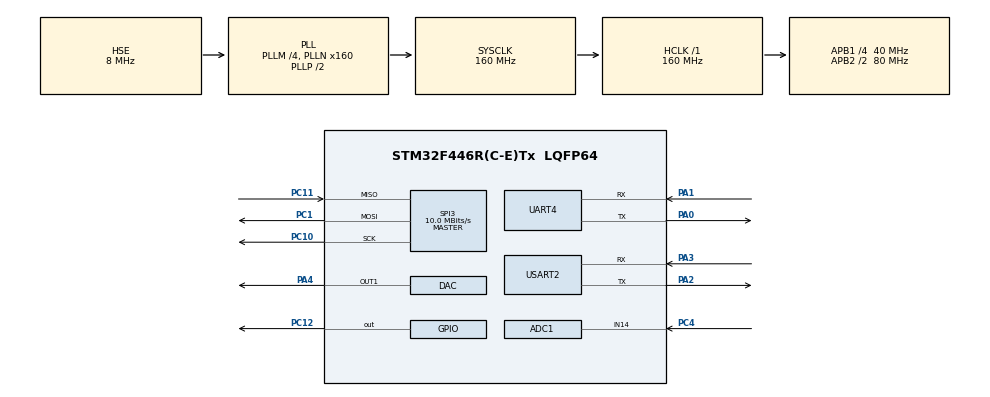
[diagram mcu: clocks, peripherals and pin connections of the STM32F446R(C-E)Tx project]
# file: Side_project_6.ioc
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ADC1.Channel-0\#ChannelRegularConversion=ADC_CHANNEL_14
ADC1.DMAContinuousRequests=ENABLE
ADC1.NbrOfConversionFlag=1
ADC1.Rank-0\#ChannelRegularConversion=1
ADC1.SamplingTime-0\#ChannelRegularConversion=ADC_SAMPLETIME_3CYCLES
ADC1.master=1
DAC.DAC_Trigger=DAC_TRIGGER_T2_TRGO
Dma.ADC1.4.Direction=DMA_PERIPH_TO_MEMORY
Dma.ADC1.4.FIFOMode=DMA_FIFOMODE_DISABLE
Dma.ADC1.4.Instance=DMA2_Stream0
Dma.ADC1.4.MemDataAlignment=DMA_MDATAALIGN_HALFWORD
Dma.ADC1.4.MemInc=DMA_MINC_ENABLE
Dma.ADC1.4.Mode=DMA_CIRCULAR
Dma.ADC1.4.PeriphDataAlignment=DMA_PDATAALIGN_HALFWORD
Dma.ADC1.4.PeriphInc=DMA_PINC_DISABLE
Dma.ADC1.4.Priority=DMA_PRIORITY_LOW
Dma.DAC1.3.Direction=DMA_MEMORY_TO_PERIPH
Dma.DAC1.3.FIFOMode=DMA_FIFOMODE_DISABLE
Dma.DAC1.3.Instance=DMA1_Stream5
Dma.DAC1.3.MemDataAlignment=DMA_MDATAALIGN_WORD
Dma.DAC1.3.MemInc=DMA_MINC_ENABLE
Dma.DAC1.3.Mode=DMA_CIRCULAR
Dma.DAC1.3.PeriphDataAlignment=DMA_PDATAALIGN_WORD
Dma.DAC1.3.PeriphInc=DMA_PINC_DISABLE
Dma.DAC1.3.Priority=DMA_PRIORITY_LOW
Dma.Request0=USART2_TX
Dma.Request1=UART4_TX
Dma.Request2=UART4_RX
Dma.Request3=DAC1
Dma.Request4=ADC1
Dma.UART4_RX.2.Direction=DMA_PERIPH_TO_MEMORY
Dma.UART4_RX.2.FIFOMode=DMA_FIFOMODE_DISABLE
Dma.UART4_RX.2.Instance=DMA1_Stream2
Dma.UART4_RX.2.MemDataAlignment=DMA_MDATAALIGN_BYTE
Dma.UART4_RX.2.MemInc=DMA_MINC_ENABLE
Dma.UART4_RX.2.Mode=DMA_NORMAL
Dma.UART4_RX.2.PeriphDataAlignment=DMA_PDATAALIGN_BYTE
Dma.UART4_RX.2.PeriphInc=DMA_PINC_DISABLE
Dma.UART4_RX.2.Priority=DMA_PRIORITY_LOW
Dma.UART4_TX.1.Direction=DMA_MEMORY_TO_PERIPH
Dma.UART4_TX.1.FIFOMode=DMA_FIFOMODE_DISABLE
Dma.UART4_TX.1.Instance=DMA1_Stream4
Dma.UART4_TX.1.MemDataAlignment=DMA_MDATAALIGN_BYTE
Dma.UART4_TX.1.MemInc=DMA_MINC_ENABLE
Dma.UART4_TX.1.Mode=DMA_NORMAL
Dma.UART4_TX.1.PeriphDataAlignment=DMA_PDATAALIGN_BYTE
Dma.UART4_TX.1.PeriphInc=DMA_PINC_DISABLE
Dma.UART4_TX.1.Priority=DMA_PRIORITY_LOW
Dma.USART2_TX.0.Direction=DMA_MEMORY_TO_PERIPH
Dma.USART2_TX.0.FIFOMode=DMA_FIFOMODE_DISABLE
Dma.USART2_TX.0.Instance=DMA1_Stream6
Dma.USART2_TX.0.MemDataAlignment=DMA_MDATAALIGN_BYTE
Dma.USART2_TX.0.MemInc=DMA_MINC_ENABLE
Dma.USART2_TX.0.Mode=DMA_NORMAL
Dma.USART2_TX.0.PeriphDataAlignment=DMA_PDATAALIGN_BYTE
Dma.USART2_TX.0.PeriphInc=DMA_PINC_DISABLE
Dma.USART2_TX.0.Priority=DMA_PRIORITY_LOW
FREERTOS.Tasks01=defaultTask,0,128,StartDefaultTask,Default,NULL,Dynamic,NULL,NULL
FREERTOS.configTIMER_TASK_PRIORITY=6
FREERTOS.configUSE_TIMERS=1
Mcu.Family=STM32F4
Mcu.Name=STM32F446R(C-E)Tx
Mcu.Package=LQFP64
NVIC.DMA1_Stream2_IRQn=true\:5\:0\:false\:false\:true\:true\:false\:true\:true
NVIC.DMA1_Stream4_IRQn=true\:5\:0\:false\:false\:true\:true\:false\:true\:true
NVIC.DMA1_Stream5_IRQn=true\:5\:0\:false\:false\:true\:true\:false\:true\:true
NVIC.DMA1_Stream6_IRQn=true\:5\:0\:false\:false\:true\:true\:false\:true\:true
NVIC.DMA2_Stream0_IRQn=true\:5\:0\:false\:false\:true\:true\:false\:true\:true
NVIC.PriorityGroup=NVIC_PRIORITYGROUP_4
NVIC.TIM1_UP_TIM10_IRQn=true\:15\:0\:false\:false\:true\:false\:false\:true\:true
NVIC.TIM2_IRQn=true\:5\:0\:false\:false\:true\:true\:true\:true\:true
NVIC.TIM3_IRQn=true\:5\:0\:false\:false\:true\:true\:true\:true\:true
NVIC.TimeBase=TIM1_UP_TIM10_IRQn
NVIC.TimeBaseIP=TIM1
NVIC.UART4_IRQn=true\:5\:0\:false\:false\:true\:true\:true\:true\:true
NVIC.USART2_IRQn=true\:5\:0\:false\:false\:true\:true\:true\:true\:true
PA0-WKUP.Mode=Asynchronous
PA0-WKUP.Signal=UART4_TX
PA1.Mode=Asynchronous
PA1.Signal=UART4_RX
PA2.Mode=Asynchronous
PA2.Signal=USART2_TX
PA3.Mode=Asynchronous
PA3.Signal=USART2_RX
PA4.Signal=COMP_DAC1_group
PC1.Mode=Full_Duplex_Master
PC1.Signal=SPI3_MOSI
PC10.Mode=Full_Duplex_Master
PC10.Signal=SPI3_SCK
PC11.Mode=Full_Duplex_Master
PC11.Signal=SPI3_MISO
PC12.Signal=GPIO_Output
PC4.Signal=ADCx_IN14
PH0-OSC_IN.Mode=HSE-External-Oscillator
PH0-OSC_IN.Signal=RCC_OSC_IN
PH1-OSC_OUT.Mode=HSE-External-Oscillator
PH1-OSC_OUT.Signal=RCC_OSC_OUT
ProjectManager.HeapSize=0x200
ProjectManager.StackSize=0x400
ProjectManager.TargetToolchain=STM32CubeIDE
RCC.AHBFreq_Value=160000000
RCC.APB1CLKDivider=RCC_HCLK_DIV4
RCC.APB1Freq_Value=40000000
RCC.APB1TimFreq_Value=80000000
RCC.APB2CLKDivider=RCC_HCLK_DIV2
RCC.APB2Freq_Value=80000000
RCC.APB2TimFreq_Value=160000000
RCC.CortexFreq_Value=160000000
RCC.HCLKFreq_Value=160000000
RCC.HSE_VALUE=8000000
RCC.PLLM=4
RCC.PLLN=160
RCC.PLLSourceVirtual=RCC_PLLSOURCE_HSE
RCC.SYSCLKFreq_VALUE=160000000
RCC.SYSCLKSource=RCC_SYSCLKSOURCE_PLLCLK
RCC.USBFreq_Value=160000000
RCC.VCOOutputFreq_Value=320000000
SH.ADCx_IN14.0=ADC1_IN14,IN14
SH.COMP_DAC1_group.0=DAC_OUT1,DAC_OUT1
SPI3.BaudRatePrescaler=SPI_BAUDRATEPRESCALER_4
SPI3.CalculateBaudRate=10.0 MBits/s
SPI3.Direction=SPI_DIRECTION_2LINES
SPI3.Mode=SPI_MODE_MASTER
SPI3.VirtualType=VM_MASTER
TIM2.Period=1000-1
TIM2.Prescaler=80-1
TIM2.TIM_MasterOutputTrigger=TIM_TRGO_UPDATE
TIM3.Period=100-1
TIM3.Prescaler=80-1
UART4.VirtualMode=Asynchronous
USART2.VirtualMode=VM_ASYNC
VP_FATFS_VS_Generic.Mode=User_defined
VP_FREERTOS_VS_CMSIS_V1.Mode=CMSIS_V1
VP_SYS_VS_tim1.Mode=TIM1
VP_TIM2_VS_ClockSourceINT.Mode=Internal
VP_TIM3_VS_ClockSourceINT.Mode=Internal
board=custom

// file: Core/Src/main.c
/* USER CODE BEGIN Header */
/**
  ******************************************************************************
  * @file           : main.c
  * @brief          : Main program body
  ******************************************************************************
  * @attention
  *
  * Copyright (c) 2022 STMicroelectronics.
  * All rights reserved.
  *
  * This software is licensed under terms that can be found in the LICENSE file
  * in the root directory of this software component.
  * If no LICENSE file comes with this software, it is provided AS-IS.
  *
  ******************************************************************************
  */
/* USER CODE END Header */
#include "main.h"
#include "fatfs.h"

/* USER CODE BEGIN Includes */
#include "FreeRTOS.h"
#include "task.h"
#include "timers.h"
#include "queue.h"
#include "semphr.h"
#include "event_groups.h"

#include "stdio.h"
#include "math.h"
#include "arm_math.h"
#include "stm32_dsp.h"
#include "File_Handling_RTOS.h"
/* USER CODE END Includes */

/* USER CODE BEGIN PTD */
SemaphoreHandle_t SimMutex;
SemaphoreHandle_t Bin_sem;

TaskHandle_t Scope1_handler;
TaskHandle_t Scope2_handler;
TaskHandle_t Data_handler;
TaskHandle_t FFT_handler;
TaskHandle_t SD_handler;

QueueHandle_t SD_queue;
QueueHandle_t FFT_queue;
QueueHandle_t FFT_input_queue;

TimerHandle_t Timer_handler;
/* USER CODE END PTD */

/* USER CODE BEGIN PD */
#define PI 3.141592
/* USER CODE END PD */

 ADC_HandleTypeDef hadc1;
DMA_HandleTypeDef hdma_adc1;

DAC_HandleTypeDef hdac;
DMA_HandleTypeDef hdma_dac1;

SPI_HandleTypeDef hspi3;

TIM_HandleTypeDef htim2;
TIM_HandleTypeDef htim3;

UART_HandleTypeDef huart4;
UART_HandleTypeDef huart2;
DMA_HandleTypeDef hdma_uart4_tx;
DMA_HandleTypeDef hdma_uart4_rx;
DMA_HandleTypeDef hdma_usart2_tx;

void SystemClock_Config(void);
static void MX_GPIO_Init(void);
static void MX_DMA_Init(void);
static void MX_USART2_UART_Init(void);
static void MX_UART4_Init(void);
static void MX_DAC_Init(void);
static void MX_ADC1_Init(void);
static void MX_TIM2_Init(void);
static void MX_TIM3_Init(void);
static void MX_SPI3_Init(void);

/* USER CODE BEGIN 0 */
//button_state//
int stop_button=0;
int FFT_button=0;
int SD_flag=0;

int SD_ADC_falg=0;
int SD_FFT_falg=0;
//time scale//
int time_scale_tune=128;//for tuning
int time_scale=128;//time scale(when IT frequency=10kHz)
int freq_scale_fft=1;//FFT scale
//magnitude scale//
uint8_t mag_scale_tune=1;//for tuning
uint8_t mag_scale=1;//mag scale
int amplify=1;
//scope bias//
uint8_t scope_bias_tune=0;//for tuning
uint8_t scope_bias=0;//tuning bias

uint8_t rx_buf[5];

//Uart_transmit and Critical section setup//
uint8_t cmd_end[3]={0xff,0xff,0xff};
uint8_t mutex_flag=0;
char buf[20];//for wave transfer
char buf_2[25];//for txt transfer
char buf_3[20];//for FFT transfer
char buf_4[25];//for txt transfer
void Scope1_task(void *argument);
void Scope2_task(void *argument);
void Data_task(void *argument);
void FFT_task(void *argument);
void SD_task(void *argument);

void Critical_section_Uart(int len,char *str)
{
	xSemaphoreTake(SimMutex,portMAX_DELAY);
	HAL_UART_Transmit_DMA(&huart4, (uint8_t *)str,len);
	HAL_Delay(1);
	xSemaphoreGive(SimMutex);
}

void HAL_UART_TxCpltCallback(UART_HandleTypeDef *huart)
{
}

void HAL_UART_RxCpltCallback(UART_HandleTypeDef *huart)
{
	if(huart->Instance==UART4)
	{
		if(rx_buf[1]==0x31)
		{
			if(rx_buf[2]==0x02)
			{
				if(rx_buf[3]==0x01)stop_button=1;
				else stop_button=0;
			}
			else if(rx_buf[2]==0x05)
			{
				time_scale_tune=time_scale*2;
				if(time_scale_tune<128)time_scale=time_scale_tune;
				else time_scale=128;
			}
			else if(rx_buf[2]==0x06)
			{
				time_scale_tune=time_scale/2;
				if(time_scale_tune>1)time_scale=time_scale_tune;
				else time_scale=1;
			}
			else if(rx_buf[2]==0x0A)
			{
				if(rx_buf[3]==0x01)FFT_button=1;
				else FFT_button=0;
			}
			else if(rx_buf[2]==0x0B)
			{
				if(rx_buf[3]==0x01)amplify=10;
				else amplify=1;
			}
			else if(rx_buf[2]==0x08)
			{
				SD_flag=1;//let sd_falg=1,when write is done,reset flag=0;
				SD_ADC_falg=1;//Store ADC data to SD card
			}
			else if(rx_buf[2]==0x0C)
			{
				SD_flag=1;//let sd_falg=1,when write is done,reset flag=0;
				SD_FFT_falg=1;//Store FFT data to SD card
			}
			else
			{

			}

		}

		else
		{
			if(rx_buf[2]==0x02)
			{
				if(rx_buf[3]==0x01)stop_button=1;
				else stop_button=0;
			}
			else if(rx_buf[2]==0x05)
			{
				time_scale_tune=time_scale*2;
				if(time_scale_tune<128)time_scale=time_scale_tune;
				else time_scale=128;
			}
			else if(rx_buf[2]==0x06)
			{
				time_scale_tune=time_scale/2;
				if(time_scale_tune>1)time_scale=time_scale_tune;
				else time_scale=1;
			}
			else if(rx_buf[2]==0x07)
			{
				mag_scale_tune=mag_scale*2;
				if(mag_scale_tune<32)mag_scale=mag_scale_tune;
				else mag_scale=32;
			}
			else if(rx_buf[2]==0x08)
			{
				mag_scale_tune=mag_scale/2;
				if(mag_scale_tune>1)mag_scale=mag_scale_tune;
				else mag_scale=1;
			}
			else if(rx_buf[2]==0x09)
			{
				scope_bias_tune=scope_bias_tune+5;
				if(scope_bias_tune<255)scope_bias=scope_bias_tune;
				else scope_bias=255;
			}
			else if(rx_buf[2]==0x0A)
			{
				scope_bias_tune=scope_bias_tune-5;
				if(scope_bias_tune>0)scope_bias=scope_bias_tune;
				else scope_bias=0;
			}
			else
			{

			}
		}
	}
}

//-----------------------------------------------------//
//------------------adc_measurement--------------------//
//-----------------------------------------------------//
uint32_t adc_val;
uint8_t adc_data_buf[1000];
uint16_t adc_dma[1];
int sample_counter=0;//decide sample rate
int store_counter=0;//decide store array index
int uart_trans_counter=0;//decide uart transfer index;
//frequency calculation//
int cros_time=0;//cros_zero time
uint8_t frequency=0;//wave freq
uint8_t frequency_mod=0;//wave freq
//magnitude calculation//
uint8_t mag_max=0;//wave magnitude
int mag_max_int=0;
int mag_max_mod=0;
int flush_counter=0;//use for flush magnitude data

//---------------------------------------------------//
//-------------sin waveform generate-----------------//
//---------------------------------------------------//
uint32_t sin_val[100];//for saving sin waveform sample data

void get_sinval ()
{
	for(int i=0;i<100;i++)
	{
		sin_val[i]=(sin(i*2*PI*1/100)*(4096/2)+2048);
	}
}

//-------------------------------------------------//
//------------------FFT setup----------------------//
//-------------------------------------------------//
#define FFT_length 64
int fft_counter=0;
int fft_transfer_counter=31;
int fft_hold_counter=0;
int fft_complete_flag=0;
int value_fft=0;
int fft_sample_counter=0;
uint32_t input[FFT_length], output[FFT_length],Mag[FFT_length];/* 输入，输出 */
float32_t Phase[FFT_length];/* 相位，幅值*/

/*
*********************************************************************************************************
* 函 数 名: PowerMag
* 功能说明: 求模值
* 形 参：_usFFTPoints FFT点数
* 返 回 值: 无
*********************************************************************************************************
*/
void PowerMag(uint16_t _usFFTPoints)
{
	int16_t lX,lY;
	uint16_t i;
	float32_t mag;
	/* 计算幅值 */
	for (i=0; i < _usFFTPoints; i++)
	{
	lX= (output[i]<<16)>>16; /* 实部*/
	lY= (output[i]>> 16); /* 虚部 */
	arm_sqrt_f32((float32_t)(lX*lX+ lY*lY), &mag); /* 求模 */
	Mag[i]= mag*2; /* 求模后乘以2才是实际模值，直流分量不需要乘2 */
	}

	/* 由于上面多乘了2，所以这里直流分量要除以2 */
	Mag[0] = Mag[0]>>1;
}

/*
*********************************************************************************************************
* 函 数 名: Power_Phase_Radians
* 功能说明: 求相位
* 形 参：_usFFTPoints FFT点数， uiCmpValue 阀值
* 返 回 值: 无
*********************************************************************************************************
*/
void Power_Phase_Radians(uint16_t _usFFTPoints, uint32_t _uiCmpValue)
{
	int16_t lX, lY;
	uint16_t i;
	float32_t phase;
	float32_t mag;
	for (i=0; i <_usFFTPoints; i++)
	{
		lX= (output[i]<<16)>>16; /* 实部 */
		lY= (output[i] >> 16); /* 虚部 */
		phase = atan2(lY, lX); /* atan2求解的结果范围是(-pi, pi], 弧度制 */
		arm_sqrt_f32((float32_t)(lX*lX+ lY*lY), &mag); /* 求模 */
		if(_uiCmpValue > mag)
		{
			Phase[i] = 0;
		}
		else
		{
			Phase[i] = phase* 180.0f/PI; /* 将求解的结果由弧度转换为角度 */
		}
	}
}
/*
*********************************************************************************************************
* 函 数 名: DSP_FFTPhase
* 功能说明: 64点FFT的相位求解
* 形 参：无
* 返 回 值: 无
*********************************************************************************************************
*/
void DSP_FFTPhase(void)
{

	/* 计算64点FFT
	 output：输出结果，高16位是虚部，低16位是实部。
	 input ：输入数据，高16位是虚部，低16位是实部。
	 第三个参数必须是64。
	*/
	cr4_fft_64_stm32(output, input, 64);
	/* 求幅值 */
	PowerMag(FFT_length);

	Power_Phase_Radians(FFT_length, 100);
}

//----------------SD_card setup---------------------//
char buf_sd[50];//for SD card sprintf use
int buf_val[64];//for test SD card function
int sd_buf[64];//store adc data,for save to SD card
int sd_store_counter=0;
int write_counter_adc=0;
int write_counter_fft=0;

void buffer_value_set()
{
	for(int i=0;i<64;i++)
	{
		buf_val[i]=i;
	}
}

//------------Software timer callback-------------//

void timer_callback (xTimerHandle xtimer)
{
	uint32_t Tick_delay=pdMS_TO_TICKS(1);
	int FFT_input_val;
	if(xtimer==Timer_handler)
	{
		sample_counter++;
		//sample counter decide sample rate//
		if(sample_counter>=1*time_scale)
		{

			sample_counter=0;
			if(store_counter>=1000)store_counter=0;
			HAL_ADC_Start(&hadc1);
			adc_data_buf[store_counter]=adc_val/16;
			store_counter++;

			//frequency calculation//
			if(adc_val>=2048)cros_time++;
			else if(adc_val<2048&&cros_time!=0)
			{
				frequency=1/(0.0001*time_scale*cros_time*2);
				cros_time=0;
			}

			//magnitude calculation//
			if((adc_val/16)>mag_max)
			{
				mag_max=adc_val/16;//if adc_val >previous value,change max value
				mag_max_int=mag_max*3.3*amplify/255;
				mag_max_mod=(mag_max*33/10*amplify%255)/26;
			}
			else
			{
				flush_counter++;
				if(flush_counter>=(1000/time_scale))//flush data in period
				{
					mag_max=0;//reset_mag
					frequency=0;
					flush_counter=0;
				}
			}
		}

		xQueueSend(SD_queue,&adc_val,Tick_delay);

		//FFT calculation data transfer//
		FFT_input_val=adc_val/4;
		if(fft_counter<=FFT_length)
		{
			if(xQueueSend(FFT_input_queue,&FFT_input_val,Tick_delay)!=pdTRUE)
				xSemaphoreGive(Bin_sem);//Data preparation complete Release Binary semaphore

			fft_counter++;
		}

	}
}

/* USER CODE END 0 */

int main(void)
{

  /* MCU Configuration--------------------------------------------------------*/

  /* Reset of all peripherals, Initializes the Flash interface and the Systick. */
  HAL_Init();

  /* Configure the system clock */
  SystemClock_Config();

  /* Initialize all configured peripherals */
  MX_GPIO_Init();
  MX_DMA_Init();
  MX_USART2_UART_Init();
  MX_UART4_Init();
  MX_DAC_Init();
  MX_ADC1_Init();
  MX_TIM2_Init();
  MX_TIM3_Init();
  MX_SPI3_Init();
  MX_FATFS_Init();
  /* USER CODE BEGIN 2 */

  //SD card setup//
  buffer_value_set();

  Mount_SD("/");
  Format_SD();
  Create_File("ADC.TXT");
  Create_File("FFT.TXT");
  Unmount_SD("/");

  //DAC setup//
  HAL_TIM_Base_Start(&htim2);
  get_sinval();
  HAL_DAC_Start_DMA(&hdac, DAC1_CHANNEL_1, sin_val, 100, DAC_ALIGN_12B_R);
  //ADC_DMA_setup//
  HAL_ADC_Start_DMA(&hadc1,(uint32_t *)adc_dma,1);

  //TIM3 interrupt setup//
  HAL_TIM_Base_Start_IT(&htim3);

  //Start Receive IT//
  HAL_UART_Receive_DMA(&huart4, rx_buf, 5);

  //create semaphore//
  Bin_sem=xSemaphoreCreateBinary();
  //create mutex//
  SimMutex = xSemaphoreCreateMutex();
  if(SimMutex!=NULL)mutex_flag=1;

  //create software timer//
  Timer_handler=xTimerCreate("FFT_timer",pdMS_TO_TICKS(16), pdTRUE,(void *) 1,(TimerCallbackFunction_t)timer_callback);

  //Queue create//
  SD_queue=xQueueCreate(64,sizeof(int));
  FFT_queue=xQueueCreate(32,sizeof(int));
  FFT_input_queue=xQueueCreate(64,sizeof(uint32_t));

  //create task//
  xTaskCreate(Scope1_task,"HPT",128,NULL,4,&Scope1_handler);
  xTaskCreate(Scope2_task,"MPT",128,NULL,4,&Scope2_handler);
  xTaskCreate(Data_task,"LPT",128,NULL,3,&Data_handler);
  xTaskCreate(FFT_task,"VLPT",128,NULL,2,&FFT_handler);
  xTaskCreate(SD_task,"SDT",256,NULL,1,&SD_handler);
  vTaskStartScheduler();

  /* USER CODE END 2 */

  /* Infinite loop */
  while (1)
  {

  }
}

void SystemClock_Config(void)
{
  RCC_OscInitTypeDef RCC_OscInitStruct = {0};
  RCC_ClkInitTypeDef RCC_ClkInitStruct = {0};

  /** Configure the main internal regulator output voltage
  */
  __HAL_RCC_PWR_CLK_ENABLE();
  __HAL_PWR_VOLTAGESCALING_CONFIG(PWR_REGULATOR_VOLTAGE_SCALE1);

  /** Initializes the RCC Oscillators according to the specified parameters
  * in the RCC_OscInitTypeDef structure.
  */
  RCC_OscInitStruct.OscillatorType = RCC_OSCILLATORTYPE_HSE;
  RCC_OscInitStruct.HSEState = RCC_HSE_ON;
  RCC_OscInitStruct.PLL.PLLState = RCC_PLL_ON;
  RCC_OscInitStruct.PLL.PLLSource = RCC_PLLSOURCE_HSE;
  RCC_OscInitStruct.PLL.PLLM = 4;
  RCC_OscInitStruct.PLL.PLLN = 160;
  RCC_OscInitStruct.PLL.PLLP = RCC_PLLP_DIV2;
  RCC_OscInitStruct.PLL.PLLQ = 2;
  RCC_OscInitStruct.PLL.PLLR = 2;
  if (HAL_RCC_OscConfig(&RCC_OscInitStruct) != HAL_OK)
  {
    Error_Handler();
  }

  /** Initializes the CPU, AHB and APB buses clocks
  */
  RCC_ClkInitStruct.ClockType = RCC_CLOCKTYPE_HCLK|RCC_CLOCKTYPE_SYSCLK
                              |RCC_CLOCKTYPE_PCLK1|RCC_CLOCKTYPE_PCLK2;
  RCC_ClkInitStruct.SYSCLKSource = RCC_SYSCLKSOURCE_PLLCLK;
  RCC_ClkInitStruct.AHBCLKDivider = RCC_SYSCLK_DIV1;
  RCC_ClkInitStruct.APB1CLKDivider = RCC_HCLK_DIV4;
  RCC_ClkInitStruct.APB2CLKDivider = RCC_HCLK_DIV2;

  if (HAL_RCC_ClockConfig(&RCC_ClkInitStruct, FLASH_LATENCY_5) != HAL_OK)
  {
    Error_Handler();
  }
}

static void MX_ADC1_Init(void)
{

  ADC_ChannelConfTypeDef sConfig = {0};

  /** Configure the global features of the ADC (Clock, Resolution, Data Alignment and number of conversion)
  */
  hadc1.Instance = ADC1;
  hadc1.Init.ClockPrescaler = ADC_CLOCK_SYNC_PCLK_DIV4;
  hadc1.Init.Resolution = ADC_RESOLUTION_12B;
  hadc1.Init.ScanConvMode = DISABLE;
  hadc1.Init.ContinuousConvMode = DISABLE;
  hadc1.Init.DiscontinuousConvMode = DISABLE;
  hadc1.Init.ExternalTrigConvEdge = ADC_EXTERNALTRIGCONVEDGE_NONE;
  hadc1.Init.ExternalTrigConv = ADC_SOFTWARE_START;
  hadc1.Init.DataAlign = ADC_DATAALIGN_RIGHT;
  hadc1.Init.NbrOfConversion = 1;
  hadc1.Init.DMAContinuousRequests = ENABLE;
  hadc1.Init.EOCSelection = ADC_EOC_SINGLE_CONV;
  if (HAL_ADC_Init(&hadc1) != HAL_OK)
  {
    Error_Handler();
  }

  /** Configure for the selected ADC regular channel its corresponding rank in the sequencer and its sample time.
  */
  sConfig.Channel = ADC_CHANNEL_14;
  sConfig.Rank = 1;
  sConfig.SamplingTime = ADC_SAMPLETIME_3CYCLES;
  if (HAL_ADC_ConfigChannel(&hadc1, &sConfig) != HAL_OK)
  {
    Error_Handler();
  }

}

static void MX_DAC_Init(void)
{

  DAC_ChannelConfTypeDef sConfig = {0};

  /** DAC Initialization
  */
  hdac.Instance = DAC;
  if (HAL_DAC_Init(&hdac) != HAL_OK)
  {
    Error_Handler();
  }

  /** DAC channel OUT1 config
  */
  sConfig.DAC_Trigger = DAC_TRIGGER_T2_TRGO;
  sConfig.DAC_OutputBuffer = DAC_OUTPUTBUFFER_ENABLE;
  if (HAL_DAC_ConfigChannel(&hdac, &sConfig, DAC_CHANNEL_1) != HAL_OK)
  {
    Error_Handler();
  }

}

static void MX_SPI3_Init(void)
{

  /* SPI3 parameter configuration*/
  hspi3.Instance = SPI3;
  hspi3.Init.Mode = SPI_MODE_MASTER;
  hspi3.Init.Direction = SPI_DIRECTION_2LINES;
  hspi3.Init.DataSize = SPI_DATASIZE_8BIT;
  hspi3.Init.CLKPolarity = SPI_POLARITY_LOW;
  hspi3.Init.CLKPhase = SPI_PHASE_1EDGE;
  hspi3.Init.NSS = SPI_NSS_SOFT;
  hspi3.Init.BaudRatePrescaler = SPI_BAUDRATEPRESCALER_4;
  hspi3.Init.FirstBit = SPI_FIRSTBIT_MSB;
  hspi3.Init.TIMode = SPI_TIMODE_DISABLE;
  hspi3.Init.CRCCalculation = SPI_CRCCALCULATION_DISABLE;
  hspi3.Init.CRCPolynomial = 10;
  if (HAL_SPI_Init(&hspi3) != HAL_OK)
  {
    Error_Handler();
  }

}

static void MX_TIM2_Init(void)
{

  TIM_ClockConfigTypeDef sClockSourceConfig = {0};
  TIM_MasterConfigTypeDef sMasterConfig = {0};

  htim2.Instance = TIM2;
  htim2.Init.Prescaler = 80-1;
  htim2.Init.CounterMode = TIM_COUNTERMODE_UP;
  htim2.Init.Period = 1000-1;
  htim2.Init.ClockDivision = TIM_CLOCKDIVISION_DIV1;
  htim2.Init.AutoReloadPreload = TIM_AUTORELOAD_PRELOAD_DISABLE;
  if (HAL_TIM_Base_Init(&htim2) != HAL_OK)
  {
    Error_Handler();
  }
  sClockSourceConfig.ClockSource = TIM_CLOCKSOURCE_INTERNAL;
  if (HAL_TIM_ConfigClockSource(&htim2, &sClockSourceConfig) != HAL_OK)
  {
    Error_Handler();
  }
  sMasterConfig.MasterOutputTrigger = TIM_TRGO_UPDATE;
  sMasterConfig.MasterSlaveMode = TIM_MASTERSLAVEMODE_DISABLE;
  if (HAL_TIMEx_MasterConfigSynchronization(&htim2, &sMasterConfig) != HAL_OK)
  {
    Error_Handler();
  }

}

static void MX_TIM3_Init(void)
{

  TIM_ClockConfigTypeDef sClockSourceConfig = {0};
  TIM_MasterConfigTypeDef sMasterConfig = {0};

  htim3.Instance = TIM3;
  htim3.Init.Prescaler = 80-1;
  htim3.Init.CounterMode = TIM_COUNTERMODE_UP;
  htim3.Init.Period = 100-1;
  htim3.Init.ClockDivision = TIM_CLOCKDIVISION_DIV1;
  htim3.Init.AutoReloadPreload = TIM_AUTORELOAD_PRELOAD_DISABLE;
  if (HAL_TIM_Base_Init(&htim3) != HAL_OK)
  {
    Error_Handler();
  }
  sClockSourceConfig.ClockSource = TIM_CLOCKSOURCE_INTERNAL;
  if (HAL_TIM_ConfigClockSource(&htim3, &sClockSourceConfig) != HAL_OK)
  {
    Error_Handler();
  }
  sMasterConfig.MasterOutputTrigger = TIM_TRGO_RESET;
  sMasterConfig.MasterSlaveMode = TIM_MASTERSLAVEMODE_DISABLE;
  if (HAL_TIMEx_MasterConfigSynchronization(&htim3, &sMasterConfig) != HAL_OK)
  {
    Error_Handler();
  }

}

static void MX_UART4_Init(void)
{

  huart4.Instance = UART4;
  huart4.Init.BaudRate = 115200;
  huart4.Init.WordLength = UART_WORDLENGTH_8B;
  huart4.Init.StopBits = UART_STOPBITS_1;
  huart4.Init.Parity = UART_PARITY_NONE;
  huart4.Init.Mode = UART_MODE_TX_RX;
  huart4.Init.HwFlowCtl = UART_HWCONTROL_NONE;
  huart4.Init.OverSampling = UART_OVERSAMPLING_16;
  if (HAL_UART_Init(&huart4) != HAL_OK)
  {
    Error_Handler();
  }

}

static void MX_USART2_UART_Init(void)
{

  huart2.Instance = USART2;
  huart2.Init.BaudRate = 115200;
  huart2.Init.WordLength = UART_WORDLENGTH_8B;
  huart2.Init.StopBits = UART_STOPBITS_1;
  huart2.Init.Parity = UART_PARITY_NONE;
  huart2.Init.Mode = UART_MODE_TX_RX;
  huart2.Init.HwFlowCtl = UART_HWCONTROL_NONE;
  huart2.Init.OverSampling = UART_OVERSAMPLING_16;
  if (HAL_UART_Init(&huart2) != HAL_OK)
  {
    Error_Handler();
  }

}

static void MX_DMA_Init(void)
{

  /* DMA controller clock enable */
  __HAL_RCC_DMA1_CLK_ENABLE();
  __HAL_RCC_DMA2_CLK_ENABLE();

  /* DMA interrupt init */
  /* DMA1_Stream2_IRQn interrupt configuration */
  HAL_NVIC_SetPriority(DMA1_Stream2_IRQn, 5, 0);
  HAL_NVIC_EnableIRQ(DMA1_Stream2_IRQn);
  /* DMA1_Stream4_IRQn interrupt configuration */
  HAL_NVIC_SetPriority(DMA1_Stream4_IRQn, 5, 0);
  HAL_NVIC_EnableIRQ(DMA1_Stream4_IRQn);
  /* DMA1_Stream5_IRQn interrupt configuration */
  HAL_NVIC_SetPriority(DMA1_Stream5_IRQn, 5, 0);
  HAL_NVIC_EnableIRQ(DMA1_Stream5_IRQn);
  /* DMA1_Stream6_IRQn interrupt configuration */
  HAL_NVIC_SetPriority(DMA1_Stream6_IRQn, 5, 0);
  HAL_NVIC_EnableIRQ(DMA1_Stream6_IRQn);
  /* DMA2_Stream0_IRQn interrupt configuration */
  HAL_NVIC_SetPriority(DMA2_Stream0_IRQn, 5, 0);
  HAL_NVIC_EnableIRQ(DMA2_Stream0_IRQn);

}

static void MX_GPIO_Init(void)
{
  GPIO_InitTypeDef GPIO_InitStruct = {0};

  /* GPIO Ports Clock Enable */
  __HAL_RCC_GPIOH_CLK_ENABLE();
  __HAL_RCC_GPIOC_CLK_ENABLE();
  __HAL_RCC_GPIOA_CLK_ENABLE();

  /*Configure GPIO pin Output Level */
  HAL_GPIO_WritePin(GPIOC, GPIO_PIN_12, GPIO_PIN_RESET);

  /*Configure GPIO pin : PC12 */
  GPIO_InitStruct.Pin = GPIO_PIN_12;
  GPIO_InitStruct.Mode = GPIO_MODE_OUTPUT_PP;
  GPIO_InitStruct.Pull = GPIO_NOPULL;
  GPIO_InitStruct.Speed = GPIO_SPEED_FREQ_LOW;
  HAL_GPIO_Init(GPIOC, &GPIO_InitStruct);

}

/* USER CODE BEGIN 4 */
void Scope1_task(void *argument)
{
	xTimerStart(Timer_handler,0);
	while(1)
	{
		if(uart_trans_counter>=1000)uart_trans_counter=0;

		int value=adc_data_buf[uart_trans_counter]/mag_scale+scope_bias;
		if(value>=255)value=255;

		int len=sprintf(buf,"add 1,0,%d%s",value,cmd_end);
		if(stop_button==0)
		{
		Critical_section_Uart(len,buf);//if stop button=0,send data to display
		uart_trans_counter++;
		}

		vTaskDelay(1*time_scale);
	}
}

void Scope2_task(void *argument)
{
	uint32_t Tick_delay=pdMS_TO_TICKS(1000);
	while(1)
	{
		if(FFT_button==1&&stop_button==0&&fft_complete_flag==0)
		{
			if(fft_transfer_counter<0)
			{
				fft_transfer_counter=31;
				fft_complete_flag=1;//transfer complete set flag to stop transfer data
				vTaskDelay(Tick_delay);
			}

			if(fft_hold_counter!=1)
			{
				value_fft=0;
			}
			else value_fft=Mag[fft_transfer_counter];

			int len=sprintf(buf_3,"add 1,1,%d%s",value_fft,cmd_end);
			Critical_section_Uart(len,buf_3);//if FFT_button=1,send data to display

			if(fft_hold_counter>=10)
			{
				fft_transfer_counter--;
				fft_hold_counter=0;
			}
				fft_hold_counter++;
		}
		vTaskDelay(10);
	}
}

void Data_task(void *argument)
{
	while(1)
	{
		HAL_UART_Receive_DMA(&huart4,rx_buf,5);

		if(stop_button==0)
		{
			int len=sprintf(buf_2,"t0.txt=\"freq=%d Hz\"%s",frequency,cmd_end);
			Critical_section_Uart(len,buf_2);
			len=sprintf(buf_4,"t1.txt=\"Mag=%d.%d V\"%s",mag_max_int,mag_max_mod,cmd_end);
			Critical_section_Uart(len,buf_4);
		}
		vTaskDelay(500);
	}
}

void FFT_task(void *argument)
{
	int value;
	int i;
	uint32_t Tick_delay=pdMS_TO_TICKS(1);
	while(1)
	{
		//Do FFT calculation,only when receive Binary semaphore
		if(xSemaphoreTake(Bin_sem,portMAX_DELAY)!=pdFALSE)
		{
			//Receive FFT calculation input data from Queue//
			for(i=0;i<FFT_length;i++)
			{
				xQueueReceive(FFT_input_queue, &value, Tick_delay);
				input[i]=value;
			}

			//implement calculation//
			DSP_FFTPhase();
			fft_counter=0;//Reset fft counter let timercallback can receive data
			fft_complete_flag=0;//when fft update,reset the fft flag
		}

		vTaskDelay(20);

	}
}

void SD_task(void *argument)
{
	int value;
	int value_FFT;
	uint32_t Tick_delay=pdMS_TO_TICKS(1);
	while(1)
	{
		if(SD_flag==1&&SD_ADC_falg==1)
		{
			xQueueReceive(SD_queue, &value, Tick_delay);
			if(write_counter_adc!=0)
			sprintf(buf_sd,"%d.%d\n",(write_counter_adc+1),value);
			else
			sprintf(buf_sd,"ADC_value\n%d.%d\n",(write_counter_adc+1),value);

			//update file//
			Mount_SD("/");
			Update_File("ADC.TXT",buf_sd);
			Unmount_SD("/");

			write_counter_adc++;
		}
		else
		{
			if(SD_flag==1&&SD_FFT_falg==1)
			{
				value_FFT=Mag[write_counter_fft];
				if(write_counter_fft!=0)
				sprintf(buf_sd,"%d.%d\n",(write_counter_fft+1),value_FFT);
				else
				sprintf(buf_sd,"Mag_value\n%d.%d\n",(write_counter_fft+1),value_FFT);

				//update file//
				Mount_SD("/");
				Update_File("FFT.TXT",buf_sd);
				Unmount_SD("/");

				write_counter_fft++;
			}
		}

		//Use counter to record how many data have been stored//
		//Check Data Store complete//

		if(write_counter_adc>=64&&SD_ADC_falg==1)
		{
			write_counter_adc=0;
			SD_ADC_falg=0;//ADC data store complete
		}

		if(write_counter_fft>=32&&SD_FFT_falg==1)
		{
			write_counter_fft=0;
			SD_FFT_falg=0;//FFT data store complete
		}

		if(SD_ADC_falg==0&&SD_FFT_falg==0)
		{
			SD_flag=0;//if data write complete reset flag
		}

		vTaskDelay(3*time_scale);
	}
}

void HAL_ADC_ConvCpltCallback(ADC_HandleTypeDef* hadc)
{
	adc_val=adc_dma[0];
}

/* USER CODE END 4 */

void HAL_TIM_PeriodElapsedCallback(TIM_HandleTypeDef *htim)
{
  if (htim->Instance == TIM1) {
    HAL_IncTick();
  }
  /* USER CODE BEGIN Callback 1 */
  if (htim->Instance == TIM3)
  {

  }
  /* USER CODE END Callback 1 */
}

void Error_Handler(void)
{
  __disable_irq();
  while (1)
  {
  }
}
